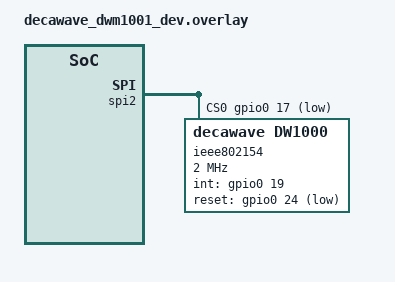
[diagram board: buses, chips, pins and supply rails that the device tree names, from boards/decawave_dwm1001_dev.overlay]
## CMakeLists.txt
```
cmake_minimum_required(VERSION 3.20.0)
find_package(Zephyr REQUIRED HINTS $ENV{ZEPHYR_BASE})
project(blinky)

target_sources(app PRIVATE src/main.c ../functions/spi_read_functions.c ../functions/spi_write_functions.c  ../functions/dw1000_ranging_functions.c ../functions/dw1000_configuration_functions.c ../functions/devices.c)
```

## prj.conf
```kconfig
CONFIG_GPIO=y
CONFIG_SPI=y
CONFIG_SPI_NRFX=y
CONFIG_LOG=y
CONFIG_LOG_MODE_IMMEDIATE=y  
CONFIG_UART_CONSOLE=y
CONFIG_LOG_BACKEND_UART=y
CONFIG_PRINTK=y
CONFIG_STDOUT_CONSOLE=y
CONFIG_CBPRINTF_FP_SUPPORT=y
```

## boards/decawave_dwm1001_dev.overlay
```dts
/*
&spi1 {
	status = "okay";
	cs-gpios = <&gpio0 17 GPIO_ACTIVE_LOW>;

	dw1000: dw1000@0 {
		compatible = "decawave,dw1000";
		reg = <0>;
		label = "DW1000";
		int-gpios = <&gpio0 19 GPIO_ACTIVE_HIGH>;
		reset-gpios = <&gpio0 24 GPIO_ACTIVE_LOW>;
		spi-max-frequency = <19200000>;
	};
};
 */
&spi2 {
	compatible = "nordic,nrf-spi";
	status = "okay";
	cs-gpios = <&gpio0 17 GPIO_ACTIVE_LOW>;

	pinctrl-0 = <&spi2_default>;
	pinctrl-1 = <&spi2_sleep>;
	pinctrl-names = "default", "sleep";
	ieee802154: dw1000@0 {
		compatible = "decawave,dw1000";
		spi-max-frequency = <2000000>;
		int-gpios = <&gpio0 19 GPIO_ACTIVE_HIGH>;    /* P0.19 */
		reset-gpios = <&gpio0 24 GPIO_ACTIVE_LOW>;    /* P0.24 */
		status = "okay";
		reg = <0>;
	};
};
```

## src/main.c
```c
//*********************************************/
// TX
//*********************************************/

#include "C:\Users\agape\Documents\LICENTA\functions\devices.h"
#include "C:\Users\agape\Documents\LICENTA\functions\dw1000_ranging_functions.h"

// #include "C:\Users\agape\Documents\LICENTA\dw1000_app\functions\devices.h"
// #include "C:\Users\agape\Documents\LICENTA\dw1000_app\functions\dw1000_ranging_functions.h"

double distances[NR_OF_ANCHORS] = {0};
float clockOffsetRatio;

int main(void)
{
    if (check_devices_ready())
    {
        LOG_ERR_IF_ENABLED("Devices not ready!");
        return 1;
    }
    gpio_pin_configure_dt(&reset_gpio, GPIO_OPEN_DRAIN | GPIO_OUTPUT);
    reset_devices();

    LOG_INF_IF_ENABLED("INIT");

    uint8_t Dev_id = TAG_ID;

    initialize();
    configure();

    static uint64_t T1 = 0, T4 = 0, T6 = 0;
    static uint64_t T2 = 0, T3 = 0, T5 = 0;
    uint8_t Msg_id = 0;
    double distance;
    int ret;

    while (1)
    {
        for (uint8_t anchor_id = 1; anchor_id <= NR_OF_ANCHORS; ++anchor_id)
        {
            set_antenna_delay(anchor_id);

            distance = 0;

            dw1000_write_u32(SYS_STATUS, 0xFFFFFFFF);

            Msg_id += 1;

            T1 = send_poll1_message(Dev_id, anchor_id, Msg_id);
            do
            {
                ret = get_msg_from_resp(anchor_id, &T2, &T3, &T4, &T5, &T6, Msg_id);

                if (ret == FAILURE)
                {
                    LOG_ERR_IF_ENABLED("Something went wrong. Abandoning this ranging cycle.");

                    dw1000_write_u32(SYS_STATUS, SYS_STATUS_ALL_RX_ERR | SYS_STATUS_RX_OK);
                    rx_soft_reset();

                    T2 = 0;
                    T3 = 0;
                    T4 = 0;
                    T5 = 0;
                    T6 = 0;

                    Msg_id += 1;

                    k_msleep(500);

                    T1 = (uint32_t)send_poll1_message(Dev_id, anchor_id, Msg_id);
                }

            } while (T2 == 0 || T3 == 0 || T6 == 0);

            LOG_INF_IF_ENABLED("For ranging cycle nr. %0d:", Msg_id);
            LOG_INF_IF_ENABLED("T1 = %0llu, T4 = %0llu, T5 = %0llu", T1, T4, T5);
            LOG_INF_IF_ENABLED("T2 = %0llu, T3 = %0llu, T6 = %0llu", T2, T3, T6);

            distance = compute_ds_twr_distance_basic(T1, T2, T3, T4, T5, T6);
            distances[anchor_id - 1] = distance;

            LOG_INF("Distance from board %0d is %0f", anchor_id, distance);

            k_msleep(500);
        }

        LOG_INF("All distances acquired!");
        compute_coord(distances);
    }
}
```
